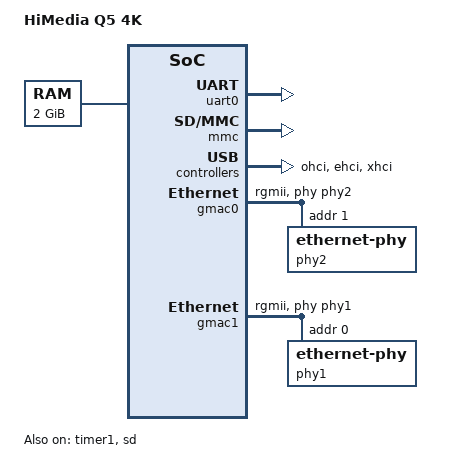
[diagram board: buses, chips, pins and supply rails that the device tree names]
/*
 * Copyright (c) 2013-2014 Linaro Ltd.
 * Copyright (c) 2013-2014 Hisilicon Limited.
 *
 *  This program is free software; you can redistribute it and/or modify
 *  it under the terms of the GNU General Public License version 2 as
 *  publishhed by the Free Software Foundation.
 */

/dts-v1/;
#include "hi3798cv100.dtsi"

/ {
	model = "HiMedia Q5 4K";
	compatible = "hisilicon,hix5hd2";

	chosen {
		stdout-path = "serial0:115200n8";
	};

	memory {
		device_type = "memory";
		reg = <0x00000000 0x80000000>;
	};
};

&timer1 {
	status = "okay";
};

&uart0 {
	status = "okay";
};

&mmc {
	status = "okay";
};

&sd {
	status = "okay";
};

&ohci {
	status = "okay";
};

&ehci {
	status = "okay";
};

&xhci {
	status = "okay";
};

&gmac0 {
	#address-cells = <1>;
	#size-cells = <0>;
	phy-handle = <&phy2>;
	phy-mode = "rgmii";
	/* Placeholder, overwritten by bootloader */
	mac-address = [00 00 00 00 00 00];
	status = "okay";

	phy2: ethernet-phy@1 {
		reg = <1>;
	};
};

&gmac1 {
	#address-cells = <1>;
	#size-cells = <0>;
	phy-handle = <&phy1>;
	phy-mode = "rgmii";
	/* Placeholder, overwritten by bootloader */
	mac-address = [00 00 00 00 00 00];
	status = "okay";

	phy1: ethernet-phy@0 {
		reg = <0>;
	};
};


